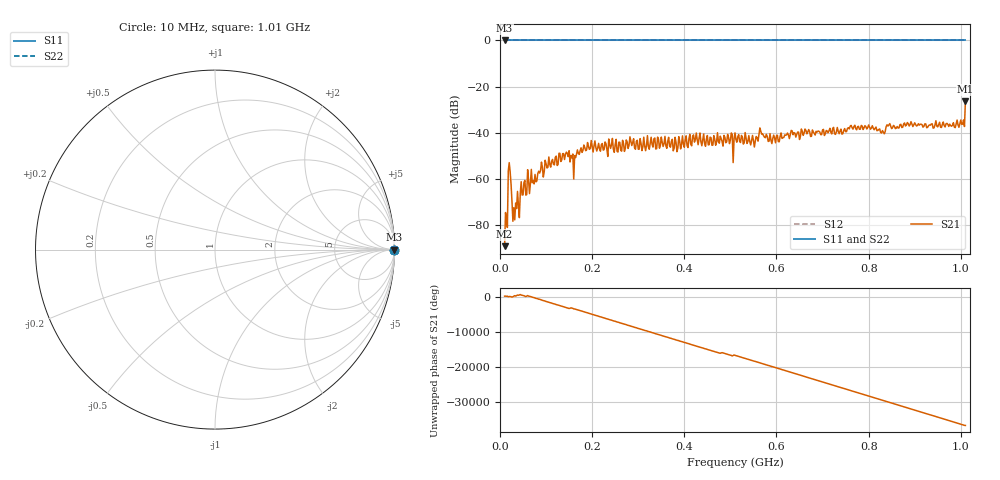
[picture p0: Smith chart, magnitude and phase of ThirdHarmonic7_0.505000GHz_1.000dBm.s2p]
! 8/17/2025 2:32:13 PM
! C:\ANRITSUVNA\TEMP\TEMP.S2P
! CHANNEL.1
! TR.MEASUREMENT
! RAW.DATA
! RF.CORRECTION.OFF
! AVERAGING.OFF
! IF.BANDWIDTH: 5KHZ
! SWEEPTYPE:  FREQ.SWEEP(Linear)
! Reference Plane Port Info
! PORT:  PORT1  PORT2
! DISTANCE:  0  m  0  m
! TIME:  0  s  0  s
! PHASE.OFFSET:  0  deg.  0  deg.
! LOSS:  0  dB  0  dB
! REF.LOSS:  0  dB  0  dB
! REF.FREQ:  0  Hz  0  Hz
! Power Info
! POWER:  -20  dBm  -20  dBm
! EFF.POWER:  -20  dBm  -20  dBm
! SOURCE.ATTEN:  0  dB  0  dB
! TEST.ATTEN:  0  dB  0  dB
# GHZ S RI R 50.0
! FREQ.GHZ  S11RE  S11IM  S21RE  S21IM  S12RE  S12IM  S22RE  S22IM
!; PortSelection: Port_12
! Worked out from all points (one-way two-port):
!   501 points, 10 MHz to 1.01 GHz, reference 50 ohm
!   highest |S21| = -26.32 dB at 1.01 GHz (marker M1); lowest = -89.0 dB at 10 MHz (marker M2)
!   lowest |S11| = 0.0 dB at 10 MHz (marker M3)
!   |S11| at or under -10 dB: nowhere
!   |S22| runs from 0.0 to 0.0 dB; largest |S21 - S12| = 1
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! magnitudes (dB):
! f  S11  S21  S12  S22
! 10 MHz  0.0  -89.0  0.0  0.0
! 12 MHz  0.0  -74.4  0.0  0.0
! 22 MHz  0.0  -56.7  0.0  0.0
! 28 MHz  0.0  -78.2  0.0  0.0
! 32 MHz  0.0  -77.6  0.0  0.0
! 50 MHz  0.0  -66.8  0.0  0.0
! 88 MHz  0.0  -56.3  0.0  0.0
! 146 MHz  0.0  -48.7  0.0  0.0
! 160 MHz  0.0  -59.9  0.0  0.0
! 178 MHz  0.0  -48.4  0.0  0.0
! 344 MHz  0.0  -42.7  0.0  0.0
! 422 MHz  0.0  -44.0  0.0  0.0
! 510 MHz  0.0  -40.0  0.0  0.0
! 556 MHz  0.0  -41.5  0.0  0.0
! 566 MHz  0.0  -39.3  0.0  0.0
! 586 MHz  0.0  -40.3  0.0  0.0
! 678 MHz  0.0  -38.7  0.0  0.0
! 830 MHz  0.0  -39.0  0.0  0.0
! 844 MHz  0.0  -36.5  0.0  0.0
! 984 MHz  0.0  -35.6  0.0  0.0
! 1.004 GHz  0.0  -36.2  0.0  0.0
! 1.01 GHz  0.0  -26.3  0.0  0.0
